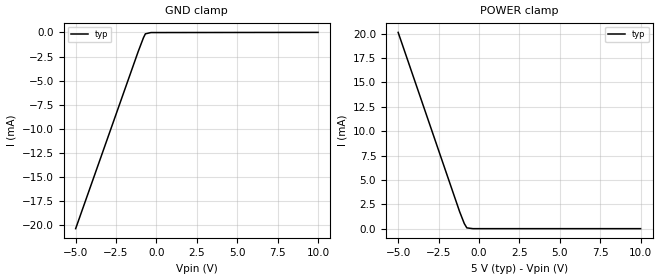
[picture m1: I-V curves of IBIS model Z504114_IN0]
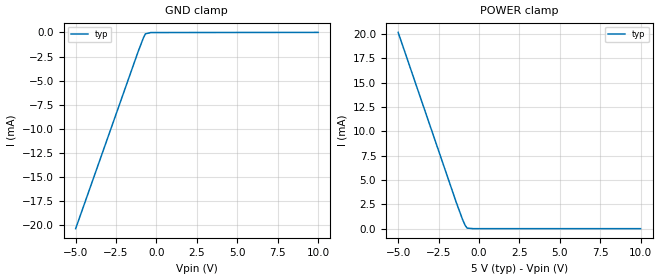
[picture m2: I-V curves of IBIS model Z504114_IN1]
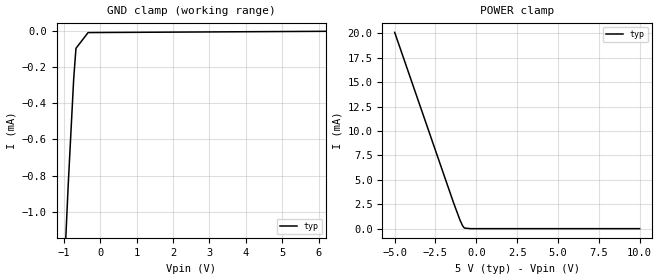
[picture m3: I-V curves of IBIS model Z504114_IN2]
| YOU ARE ONLY AUTHORIZED TO USE THIS SOFTWARE
| ACCORDING TO LICENSOR'S LICENSE RESTRICTIONS.
[IBIS Ver] 3.1
[File Name] mc54hc589j.ibs
[File Rev] 2.0
[Source] Measured and created by ICX Technology
[Date] Friday 7/14/00 9:08:07 AM
[Copyright]
| (C) COPYRIGHT 1993-2000
| MENTOR GRAPHICS CORPORATION
| ICX STANDARD LIBRARY, ICX PROJECT MODELING,
| ICX CUSTOM MODELING, ICX VENDOR MODEL
| ALL RIGHTS RESERVED.
| THE FOLLOWING ARE TRADEMARKS OR SERVICE MARKS OF
| MENTOR GRAPHICS CORPORATION:ICX (R), ICX STANDARD
| LIBRARY(R), ICX PROJECT MODELING(R), ICX CUSTOM
| MODELING(R), qualityIBIS(TM), MODELVIEWER(TM),
| AND MODELEDITOR(TM)
| ALL COPIES OF SOFTWARE, INCLUDING BUT NOT LIMITED TO
| ANY MODIFICATIONS, ENHANCEMENTS OR DERIVATIVE WORKS,
| MUST CONTAIN ALL MENTOR GRAPHICS CORPORATION'S
| NOTICES AND LEGENDS, INCLUDING THOSE EMBEDDED IN
| SOFTWARE AND THOSE AFFIXED TO SOFTWARE MEDIUM
| AND CONTAINER, AS RECEIVED FROM MENTOR GRAPHICS
| CORPORATION.
|  ZAP Model Builder 2.7
[Component] MC54HC589J
[Manufacturer] OnSemiconductor
[Package]
| variable   typ   min   max
R_pkg  .212ohms NA NA
L_pkg  4.758nH NA NA
C_pkg  1.944pF NA NA
[Pin] signal_name  model_name  R_pin  L_pin C_pin
1 B Z504114_IN0 .224 7.258n 2.683p
2 C Z504114_IN0 .216 5.258n 2.19p
3 D Z504114_IN0 .208 3.758n 1.697p
4 E Z504114_IN0 .2 2.758n 1.204p
5 G Z504114_IN0 .2 2.758n 1.204p
6 G Z504114_IN0 .208 3.758n 1.697p
7 H Z504114_IN0 .216 5.258n 2.19p
8 GND GND .224 7.258n 2.683p
9 QH Z504114_TRI0 .224 7.258n 2.683p
10 OE Z504114_IN1 .216 5.258n 2.19p
11 SHIFT_CLOCK Z504114_IN2 .208 3.758n 1.697p
12 LATCH_CLOCK Z504114_IN3 .2 2.758n 1.204p
13 SERIAL_SHIFT Z504114_IN4 .2 2.758n 1.204p
14 SA Z504114_IN5 .208 3.758n 1.697p
15 A Z504114_IN0 .216 5.258n 2.19p
16 VCC POWER .224 7.258n 2.683p
| Models and submodels in the file (7): Z504114_IN0 (Input), Z504114_IN1 (Input), Z504114_IN2 (Input), Z504114_IN3 (Input), Z504114_IN4 (Input), Z504114_IN5 (Input), Z504114_TRI0 (3-state)
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| (C) COPYRIGHT 1993-2000
| MENTOR GRAPHICS CORPORATION
| ICX STANDARD LIBRARY, ICX PROJECT MODELING,
| ICX CUSTOM MODELING, ICX VENDOR MODEL
| ALL RIGHTS RESERVED.
| THE FOLLOWING ARE TRADEMARKS OR SERVICE MARKS OF
| MENTOR GRAPHICS CORPORATION:ICX (R), ICX STANDARD
| LIBRARY(R), ICX PROJECT MODELING(R), ICX CUSTOM
| MODELING(R), qualityIBIS(TM), MODELVIEWER(TM),
| AND MODELEDITOR(TM)
| ALL COPIES OF SOFTWARE, INCLUDING BUT NOT LIMITED TO
| ANY MODIFICATIONS, ENHANCEMENTS OR DERIVATIVE WORKS,
| MUST CONTAIN ALL MENTOR GRAPHICS CORPORATION'S
| NOTICES AND LEGENDS, INCLUDING THOSE EMBEDDED IN
| SOFTWARE AND THOSE AFFIXED TO SOFTWARE MEDIUM
| AND CONTAINER, AS RECEIVED FROM MENTOR GRAPHICS
| CORPORATION.
| Model Application Version 1.89 2/18/99.
[Model] Z504114_IN0
Model_type Input
Vinl = 1.000V
Vinh = 3.500V
C_comp 4.000pF NA NA
| variable typ   min   max
[Voltage Range] 5.000V NA NA
[GND Clamp Reference] 0.000V NA NA
[POWER Clamp Reference] 5.000V NA NA
[GND Clamp]
-5V       -20.35mA   NA         NA
-1.131V   -1.986mA   NA         NA
-803.6mV  -545.2uA   NA         NA
-685.3mV  -143.7uA   NA         NA
-342.6mV  -11.11uA   NA         NA
10V       5.786uA    NA         NA
[POWER Clamp]
-5V       20.13mA    NA         NA
-1.196V   1.741mA    NA         NA
-906mV    516.6uA    NA         NA
-750mV    81.69uA    NA         NA
-375mV    0A         NA         NA
10V       0A         NA         NA
| (C) COPYRIGHT 1993-2000
| MENTOR GRAPHICS CORPORATION
| ICX STANDARD LIBRARY, ICX PROJECT MODELING,
| ICX CUSTOM MODELING, ICX VENDOR MODEL
| ALL RIGHTS RESERVED.
| THE FOLLOWING ARE TRADEMARKS OR SERVICE MARKS OF
| MENTOR GRAPHICS CORPORATION:ICX (R), ICX STANDARD
| LIBRARY(R), ICX PROJECT MODELING(R), ICX CUSTOM
| MODELING(R), qualityIBIS(TM), MODELVIEWER(TM),
| AND MODELEDITOR(TM)
| ALL COPIES OF SOFTWARE, INCLUDING BUT NOT LIMITED TO
| ANY MODIFICATIONS, ENHANCEMENTS OR DERIVATIVE WORKS,
| MUST CONTAIN ALL MENTOR GRAPHICS CORPORATION'S
| NOTICES AND LEGENDS, INCLUDING THOSE EMBEDDED IN
| SOFTWARE AND THOSE AFFIXED TO SOFTWARE MEDIUM
| AND CONTAINER, AS RECEIVED FROM MENTOR GRAPHICS
| CORPORATION.
| Model Application Version 1.89 2/18/99.
[Model] Z504114_IN1
Model_type Input
Vinl = 1.000V
Vinh = 3.500V
C_comp 4.000pF NA NA
| variable typ   min   max
[Voltage Range] 5.000V NA NA
[GND Clamp Reference] 0.000V NA NA
[POWER Clamp Reference] 5.000V NA NA
[GND Clamp]
-5V       -20.36mA   NA         NA
-1.131V   -1.979mA   NA         NA
-803.5mV  -545.3uA   NA         NA
-685.1mV  -143.2uA   NA         NA
-342.6mV  -9.373uA   NA         NA
10V       6.593uA    NA         NA
[POWER Clamp]
-5V       20.16mA    NA         NA
-1.406V   2.708mA    NA         NA
-1.024V   977.5uA    NA         NA
-850mV    323.6uA    NA         NA
-731mV    61.09uA    NA         NA
-365.5mV  0A         NA         NA
10V       0A         NA         NA
| (C) COPYRIGHT 1993-2000
| MENTOR GRAPHICS CORPORATION
| ICX STANDARD LIBRARY, ICX PROJECT MODELING,
| ICX CUSTOM MODELING, ICX VENDOR MODEL
| ALL RIGHTS RESERVED.
| THE FOLLOWING ARE TRADEMARKS OR SERVICE MARKS OF
| MENTOR GRAPHICS CORPORATION:ICX (R), ICX STANDARD
| LIBRARY(R), ICX PROJECT MODELING(R), ICX CUSTOM
| MODELING(R), qualityIBIS(TM), MODELVIEWER(TM),
| AND MODELEDITOR(TM)
| ALL COPIES OF SOFTWARE, INCLUDING BUT NOT LIMITED TO
| ANY MODIFICATIONS, ENHANCEMENTS OR DERIVATIVE WORKS,
| MUST CONTAIN ALL MENTOR GRAPHICS CORPORATION'S
| NOTICES AND LEGENDS, INCLUDING THOSE EMBEDDED IN
| SOFTWARE AND THOSE AFFIXED TO SOFTWARE MEDIUM
| AND CONTAINER, AS RECEIVED FROM MENTOR GRAPHICS
| CORPORATION.
| Model Application Version 1.89 2/18/99.
[Model] Z504114_IN2
Model_type Input
Vinl = 1.000V
Vinh = 3.500V
C_comp 4.000pF NA NA
| variable typ   min   max
[Voltage Range] 5.000V NA NA
[GND Clamp Reference] 0.000V NA NA
[POWER Clamp Reference] 5.000V NA NA
[GND Clamp]
-5V       -20.35mA   NA         NA
-1.131V   -1.966mA   NA         NA
-878.5mV  -849.2uA   NA         NA
-728.4mV  -264.8uA   NA         NA
-665.9mV  -96.21uA   NA         NA
-332.9mV  -9.098uA   NA         NA
10V       2.024uA    NA         NA
[POWER Clamp]
-5V       20.09mA    NA         NA
-1.406V   2.707mA    NA         NA
-1.005V   897.1uA    NA         NA
-830mV    266.6uA    NA         NA
-730mV    65.28uA    NA         NA
-365mV    0A         NA         NA
10V       0A         NA         NA
